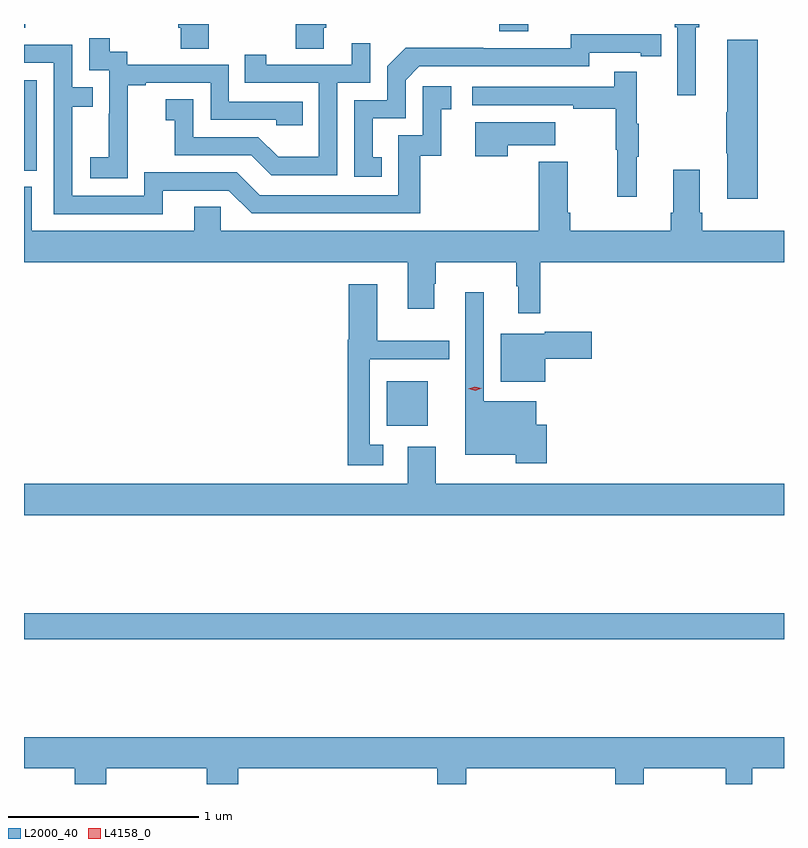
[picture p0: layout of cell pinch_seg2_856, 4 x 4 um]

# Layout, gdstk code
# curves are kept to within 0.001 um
import gdstk
lib = gdstk.Library(unit=1e-6, precision=1e-09)
def R(c, l, rs):  # rectangles x0, y0, x1, y1
    for r in rs: c.add(gdstk.rectangle(r[:2], r[2:], *l))
def P(c, l, *ps):  # polygons
    for p in ps: c.add(gdstk.Polygon(p, *l))
L2000_40 = (2000, 40)
L4158_0 = (4158, 0)

pinch_seg2_856 = lib.new_cell('pinch_seg2_856')
R(pinch_seg2_856, L2000_40, [(554.354,591.04,558.354,591.176), (556.262,592.163,556.48,592.396), (554.354,593.505,554.421,593.982), (556.856,594.239,557.008,594.277), (554.354,594.257,554.36,594.277)])
P(pinch_seg2_856, L2000_40, [(557.89,594.26),(557.909,594.26),(557.909,594.277),(557.78,594.277),(557.78,594.26),(557.793,594.26),(557.793,593.901),(557.89,593.901)],
  [(555.931,594.258),(555.944,594.258),(555.944,594.277),(555.784,594.277),(555.784,594.148),(555.931,594.148)],
  [(555.327,594.277),(555.167,594.277),(555.167,594.258),(555.179,594.258),(555.179,594.148),(555.327,594.148)],
  [(556.238,593.577),(556.189,593.577),(556.189,593.781),(556.362,593.781),(556.362,593.982),(556.434,594.054),(557.328,594.054),(557.328,594.126),(557.6,594.126),(557.6,594.106),(557.708,594.106),(557.708,594.222),(557.232,594.223),(557.232,594.15),(556.772,594.15),(556.772,594.152),(556.364,594.152),(556.266,594.054),(556.266,593.877),(556.092,593.877),(556.092,593.472),(556.238,593.472)],
  [(554.901,593.671),(554.9,593.671),(554.9,593.955),(554.995,593.955),(554.995,593.967),(555.336,593.967),(555.336,593.772),(555.681,593.772),(555.681,593.745),(555.821,593.745),(555.821,593.868),(555.432,593.868),(555.432,594.063),(554.898,594.063),(554.898,594.132),(554.806,594.132),(554.806,594.202),(554.697,594.202),(554.697,594.033),(554.802,594.033),(554.802,593.804),(554.801,593.804),(554.801,593.575),(554.703,593.575),(554.703,593.465),(554.901,593.465)],
  [(558.215,594.193),(558.056,594.193),(558.056,593.813),(558.049,593.813),(558.049,593.596),(558.056,593.596),(558.056,593.358),(558.215,593.358)],
  [(556.002,593.967),(556.176,593.967),(556.176,594.175),(556.079,594.175),(556.079,594.063),(555.628,594.063),(555.628,594.115),(555.517,594.115),(555.517,593.967),(555.906,593.967),(555.906,593.578),(555.692,593.578),(555.588,593.682),(555.246,593.682),(555.246,593.881),(555.099,593.881),(555.099,593.771),(555.148,593.771),(555.148,593.586),(555.551,593.586),(555.656,593.481),(556.002,593.481)],
  [(555.085,593.4),(555.432,593.4),(555.552,593.28),(556.439,593.28),(556.439,593.583),(556.55,593.583),(556.55,593.829),(556.603,593.829),(556.603,593.95),(556.452,593.95),(556.452,593.691),(556.323,593.691),(556.323,593.376),(555.594,593.376),(555.474,593.496),(554.988,593.496),(554.988,593.373),(554.607,593.373),(554.607,593.842),(554.717,593.842),(554.717,593.943),(554.607,593.943),(554.607,594.168),(554.354,594.168),(554.354,594.072),(554.511,594.072),(554.511,593.277),(555.085,593.277)],
  [(557.579,593.579),(557.59,593.579),(557.59,593.753),(557.579,593.753),(557.579,594.025),(557.461,594.025),(557.461,593.946),(556.713,593.946),(556.713,593.85),(557.245,593.85),(557.245,593.83),(557.469,593.83),(557.469,593.616),(557.476,593.616),(557.476,593.367),(557.579,593.367)],
  [(556.901,593.639),(557.149,593.639),(557.149,593.761),(556.73,593.761),(556.73,593.58),(556.901,593.58)],
  [(557.911,593.284),(557.911,593.509),(557.771,593.509),(557.771,593.284),(557.759,593.284),(557.759,593.188),(557.228,593.188),(557.228,593.284),(557.215,593.284),(557.215,593.551),(557.063,593.551),(557.063,593.188),(555.39,593.188),(555.39,593.315),(555.251,593.315),(555.251,593.188),(554.395,593.188),(554.395,593.42),(554.354,593.42),(554.354,593.024),(556.373,593.024),(556.373,592.779),(556.513,592.779),(556.513,592.91),(556.521,592.91),(556.521,593.024),(556.944,593.024),(556.944,592.898),(556.955,592.898),(556.955,592.755),(557.072,592.755),(557.072,593.024),(558.354,593.024),(558.354,593.188),(557.924,593.188),(557.924,593.284)],
  [(556.246,592.063),(556.173,592.063),(556.173,592.512),(556.592,592.512),(556.592,592.609),(556.213,592.609),(556.213,592.906),(556.064,592.906),(556.064,592.615),(556.057,592.615),(556.057,591.954),(556.246,591.954)],
  [(557.105,592.168),(557.05,592.168),(557.05,592.291),(556.773,592.291),(556.773,592.864),(556.677,592.864),(556.677,592.387),(556.676,592.387),(556.676,592.01),(556.941,592.01),(556.941,591.965),(557.105,591.965)],
  [(557.098,592.514),(557.341,592.514),(557.341,592.656),(557.094,592.656),(557.094,592.648),(556.862,592.648),(556.862,592.394),(557.098,592.394)],
  [(558.354,591.856),(556.522,591.856),(556.522,592.051),(556.373,592.051),(556.373,591.856),(554.354,591.856),(554.354,591.692),(558.354,591.692)],
  [(554.786,590.36),(555.317,590.36),(555.317,590.277),(555.482,590.277),(555.482,590.36),(556.529,590.36),(556.529,590.277),(556.681,590.277),(556.681,590.36),(557.465,590.36),(557.465,590.277),(557.617,590.277),(557.617,590.36),(558.047,590.36),(558.047,590.277),(558.187,590.277),(558.187,590.36),(558.354,590.36),(558.354,590.524),(554.354,590.524),(554.354,590.36),(554.621,590.36),(554.621,590.277),(554.786,590.277)])
P(pinch_seg2_856, L4158_0, [(556.728,592.348),(556.691,592.357),(556.691,592.357),(556.691,592.357),(556.727,592.368),(556.763,592.36),(556.763,592.36),(556.763,592.36)])

lib.write_gds('pinch_seg2_856.gds')
